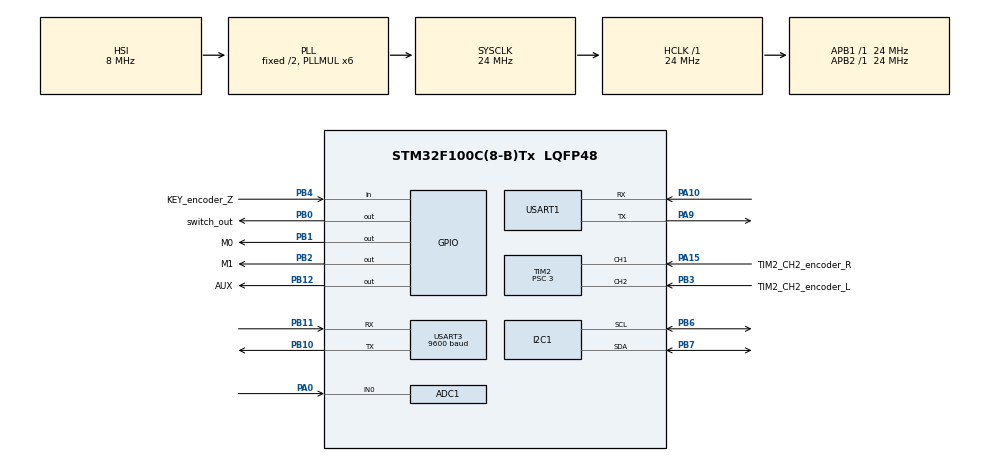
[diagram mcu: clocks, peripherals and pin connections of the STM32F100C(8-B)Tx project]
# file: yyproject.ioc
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ADC1.Channel-4\#ChannelRegularConversion=ADC_CHANNEL_0
ADC1.ContinuousConvMode=ENABLE
ADC1.ExternalTrigConv=ADC_SOFTWARE_START
ADC1.NbrOfConversion=1
ADC1.NbrOfConversionFlag=1
ADC1.Rank-4\#ChannelRegularConversion=1
ADC1.SamplingTime-4\#ChannelRegularConversion=ADC_SAMPLETIME_239CYCLES_5
ADC1.master=1
Dma.ADC1.2.Direction=DMA_PERIPH_TO_MEMORY
Dma.ADC1.2.Instance=DMA1_Channel1
Dma.ADC1.2.MemDataAlignment=DMA_MDATAALIGN_WORD
Dma.ADC1.2.MemInc=DMA_MINC_ENABLE
Dma.ADC1.2.Mode=DMA_CIRCULAR
Dma.ADC1.2.PeriphDataAlignment=DMA_PDATAALIGN_WORD
Dma.ADC1.2.PeriphInc=DMA_PINC_DISABLE
Dma.ADC1.2.Priority=DMA_PRIORITY_LOW
Dma.I2C1_RX.3.Direction=DMA_PERIPH_TO_MEMORY
Dma.I2C1_RX.3.Instance=DMA1_Channel7
Dma.I2C1_RX.3.MemDataAlignment=DMA_MDATAALIGN_BYTE
Dma.I2C1_RX.3.MemInc=DMA_MINC_ENABLE
Dma.I2C1_RX.3.Mode=DMA_NORMAL
Dma.I2C1_RX.3.PeriphDataAlignment=DMA_PDATAALIGN_BYTE
Dma.I2C1_RX.3.PeriphInc=DMA_PINC_DISABLE
Dma.I2C1_RX.3.Priority=DMA_PRIORITY_LOW
Dma.I2C1_TX.4.Direction=DMA_MEMORY_TO_PERIPH
Dma.I2C1_TX.4.Instance=DMA1_Channel6
Dma.I2C1_TX.4.MemDataAlignment=DMA_MDATAALIGN_BYTE
Dma.I2C1_TX.4.MemInc=DMA_MINC_ENABLE
Dma.I2C1_TX.4.Mode=DMA_NORMAL
Dma.I2C1_TX.4.PeriphDataAlignment=DMA_PDATAALIGN_BYTE
Dma.I2C1_TX.4.PeriphInc=DMA_PINC_DISABLE
Dma.I2C1_TX.4.Priority=DMA_PRIORITY_LOW
Dma.Request0=USART1_TX
Dma.Request1=USART1_RX
Dma.Request2=ADC1
Dma.Request3=I2C1_RX
Dma.Request4=I2C1_TX
Dma.Request5=USART3_RX
Dma.Request6=USART3_TX
Dma.USART1_RX.1.Direction=DMA_PERIPH_TO_MEMORY
Dma.USART1_RX.1.Instance=DMA1_Channel5
Dma.USART1_RX.1.MemDataAlignment=DMA_MDATAALIGN_BYTE
Dma.USART1_RX.1.MemInc=DMA_MINC_ENABLE
Dma.USART1_RX.1.Mode=DMA_CIRCULAR
Dma.USART1_RX.1.PeriphDataAlignment=DMA_PDATAALIGN_BYTE
Dma.USART1_RX.1.PeriphInc=DMA_PINC_DISABLE
Dma.USART1_RX.1.Priority=DMA_PRIORITY_LOW
Dma.USART1_TX.0.Direction=DMA_MEMORY_TO_PERIPH
Dma.USART1_TX.0.Instance=DMA1_Channel4
Dma.USART1_TX.0.MemDataAlignment=DMA_MDATAALIGN_BYTE
Dma.USART1_TX.0.MemInc=DMA_MINC_ENABLE
Dma.USART1_TX.0.Mode=DMA_NORMAL
Dma.USART1_TX.0.PeriphDataAlignment=DMA_PDATAALIGN_BYTE
Dma.USART1_TX.0.PeriphInc=DMA_PINC_DISABLE
Dma.USART1_TX.0.Priority=DMA_PRIORITY_LOW
Dma.USART3_RX.5.Direction=DMA_PERIPH_TO_MEMORY
Dma.USART3_RX.5.Instance=DMA1_Channel3
Dma.USART3_RX.5.MemDataAlignment=DMA_MDATAALIGN_BYTE
Dma.USART3_RX.5.MemInc=DMA_MINC_ENABLE
Dma.USART3_RX.5.Mode=DMA_CIRCULAR
Dma.USART3_RX.5.PeriphDataAlignment=DMA_PDATAALIGN_BYTE
Dma.USART3_RX.5.PeriphInc=DMA_PINC_DISABLE
Dma.USART3_RX.5.Priority=DMA_PRIORITY_LOW
Dma.USART3_TX.6.Direction=DMA_MEMORY_TO_PERIPH
Dma.USART3_TX.6.Instance=DMA1_Channel2
Dma.USART3_TX.6.MemDataAlignment=DMA_MDATAALIGN_BYTE
Dma.USART3_TX.6.MemInc=DMA_MINC_ENABLE
Dma.USART3_TX.6.Mode=DMA_NORMAL
Dma.USART3_TX.6.PeriphDataAlignment=DMA_PDATAALIGN_BYTE
Dma.USART3_TX.6.PeriphInc=DMA_PINC_DISABLE
Dma.USART3_TX.6.Priority=DMA_PRIORITY_LOW
I2C1.I2C_Mode=I2C_Standard
I2C1.NoStretchMode=I2C_NOSTRETCH_DISABLE
Mcu.Family=STM32F1
Mcu.Name=STM32F100C(8-B)Tx
Mcu.Package=LQFP48
NVIC.ADC1_IRQn=true\:0\:0\:false\:false\:true\:true\:true
NVIC.DMA1_Channel1_IRQn=true\:0\:0\:true\:false\:true\:false\:true
NVIC.DMA1_Channel2_IRQn=true\:0\:0\:false\:false\:true\:false\:true
NVIC.DMA1_Channel3_IRQn=true\:0\:0\:false\:false\:true\:false\:true
NVIC.DMA1_Channel4_IRQn=true\:0\:0\:true\:false\:true\:false\:true
NVIC.DMA1_Channel5_IRQn=true\:0\:0\:true\:false\:true\:false\:true
NVIC.DMA1_Channel6_IRQn=true\:0\:0\:true\:false\:true\:false\:true
NVIC.DMA1_Channel7_IRQn=true\:0\:0\:false\:false\:true\:false\:true
NVIC.I2C1_ER_IRQn=true\:0\:0\:false\:false\:true\:true\:true
NVIC.I2C1_EV_IRQn=true\:0\:0\:true\:false\:true\:true\:true
NVIC.PriorityGroup=NVIC_PRIORITYGROUP_4
NVIC.RTC_Alarm_IRQn=true\:0\:0\:false\:false\:true\:true\:true
NVIC.RTC_IRQn=true\:1\:0\:true\:false\:true\:true\:true
NVIC.USART1_IRQn=true\:1\:0\:true\:false\:true\:true\:true
NVIC.USART3_IRQn=true\:1\:0\:true\:false\:true\:true\:true
PA0-WKUP.Signal=ADCx_IN0
PA10.Mode=Asynchronous
PA10.Signal=USART1_RX
PA13.Mode=Serial_Wire
PA13.Signal=SYS_JTMS-SWDIO
PA14.Mode=Serial_Wire
PA14.Signal=SYS_JTCK-SWCLK
PA15.GPIO_Label=TIM2_CH2_encoder_R
PA15.Signal=S_TIM2_CH1_ETR
PA9.Mode=Asynchronous
PA9.Signal=USART1_TX
PB0.GPIO_Label=switch_out
PB0.Signal=GPIO_Output
PB1.GPIO_Label=M0
PB1.Signal=GPIO_Output
PB10.Mode=Asynchronous
PB10.Signal=USART3_TX
PB11.Mode=Asynchronous
PB11.Signal=USART3_RX
PB12.GPIO_Label=AUX
PB12.Signal=GPIO_Output
PB2.GPIO_Label=M1
PB2.Signal=GPIO_Output
PB3.GPIO_Label=TIM2_CH2_encoder_L
PB3.Signal=S_TIM2_CH2
PB4.GPIO_Label=KEY_encoder_Z
PB4.Signal=GPIO_Input
PB6.Mode=I2C
PB6.Signal=I2C1_SCL
PB7.Mode=I2C
PB7.Signal=I2C1_SDA
PC14-OSC32_IN.Mode=LSE-External-Oscillator
PC14-OSC32_IN.Signal=RCC_OSC32_IN
PC15-OSC32_OUT.Mode=LSE-External-Oscillator
PC15-OSC32_OUT.Signal=RCC_OSC32_OUT
ProjectManager.HeapSize=0x200
ProjectManager.StackSize=0x400
ProjectManager.TargetToolchain=MDK-ARM V5
RCC.AHBFreq_Value=24000000
RCC.APB1Freq_Value=24000000
RCC.APB1TimFreq_Value=24000000
RCC.APB2Freq_Value=24000000
RCC.APB2TimFreq_Value=24000000
RCC.HCLKFreq_Value=24000000
RCC.PLLMUL=RCC_PLL_MUL6
RCC.RTCClockSelection=RCC_RTCCLKSOURCE_LSE
RCC.SYSCLKFreq_VALUE=24000000
RCC.SYSCLKSource=RCC_SYSCLKSOURCE_PLLCLK
RTC.Date=20
RTC.Format=RTC_FORMAT_BIN
RTC.Hours=12
RTC.Month=RTC_MONTH_JUNE
RTC.OutPut=RTC_OUTPUTSOURCE_NONE
RTC.WeekDay=RTC_WEEKDAY_SATURDAY
RTC.Year=20
SH.ADCx_IN0.0=ADC1_IN0,IN0
SH.S_TIM2_CH1_ETR.0=TIM2_CH1,Encoder_Interface
SH.S_TIM2_CH2.0=TIM2_CH2,Encoder_Interface
TIM2.EncoderMode=TIM_ENCODERMODE_TI12
TIM2.IC1Filter=15
TIM2.IC2Filter=15
TIM2.Period=0xffff
TIM2.Prescaler=3
USART1.VirtualMode=VM_ASYNC
USART3.BaudRate=9600
USART3.VirtualMode=VM_ASYNC
VP_CRC_VS_CRC.Mode=CRC_Activate
VP_RTC_No_RTC_Output.Mode=RTC_OUT_NO
VP_RTC_VS_RTC_Activate.Mode=RTC_Enabled
VP_RTC_VS_RTC_Calendar.Mode=RTC_Calendar
board=custom

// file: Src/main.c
/* USER CODE BEGIN Header */
/**
  ******************************************************************************
  * @file           : main.c
  * @brief          : Main program body
  ******************************************************************************
  * @attention
  *
  * <h2><center>&copy; Copyright (c) 2020 STMicroelectronics.
  * All rights reserved.</center></h2>
  *
  * This software component is licensed by ST under BSD 3-Clause license,
  * the "License"; You may not use this file except in compliance with the
  * License. You may obtain a copy of the License at:
  *                        opensource.org/licenses/BSD-3-Clause
  *
  ******************************************************************************
  */
/* USER CODE END Header */

#include "main.h"
#include "adc.h"
#include "crc.h"
#include "dma.h"
#include "i2c.h"
#include "rtc.h"
#include "tim.h"
#include "usart.h"
#include "gpio.h"

/* USER CODE BEGIN Includes */
#include "delay.h"
#include <stdlib.h>
#include "oled12864.h"
#include "inside_flash.h"
#include "mystr.h"
/* USER CODE END Includes */

void SystemClock_Config(void);

/* USER CODE BEGIN 0 */
const uint8_t USART_Cmd_Menu[] = "\r\n \
  ***********************************************************\r\n \
  * 串口3回显控制：                                          *\r\n \
  *    输入 USART3_Echo=1 换行发送即可开启回显                *\r\n \
  *    输入 USART3_Echo=0 换行发送即可关闭回显                *\r\n \
  *                                                         *\r\n \
  * 输入 help 换行发送查看命令控制说明                        *\r\n \
  ***********************************************************\r\n \
\r\n";

uint32_t AD_DMA_1 = 0; // 保存ADC1数据
char AD_STR[3];
// rtc 时间
char time_[] = "00:00:00";
RTC_TimeTypeDef stimestructure;
RTC_AlarmTypeDef alarmValue;

// crc 测试用
// static const uint32_t aDataBuffer[114] =
// {
//   0x00001021, 0x20423063, 0x408450a5, 0x60c670e7, 0x9129a14a, 0xb16bc18c,
//   0xd1ade1ce, 0xf1ef1231, 0x32732252, 0x52b54294, 0x72f762d6, 0x93398318,
//   0xa35ad3bd, 0xc39cf3ff, 0xe3de2462, 0x34430420, 0x64e674c7, 0x44a45485,
//   0xa56ab54b, 0x85289509, 0xf5cfc5ac, 0xd58d3653, 0x26721611, 0x063076d7,
//   0x569546b4, 0xb75ba77a, 0x97198738, 0xf7dfe7fe, 0xc7bc48c4, 0x58e56886,
//   0x78a70840, 0x18612802, 0xc9ccd9ed, 0xe98ef9af, 0x89489969, 0xa90ab92b,
//   0x4ad47ab7, 0x6a961a71, 0x0a503a33, 0x2a12dbfd, 0xfbbfeb9e, 0x9b798b58,
//   0xbb3bab1a, 0x6ca67c87, 0x5cc52c22, 0x3c030c60, 0x1c41edae, 0xfd8fcdec,
//   0xad2abd0b, 0x8d689d49, 0x7e976eb6, 0x5ed54ef4, 0x2e321e51, 0x0e70ff9f,
//   0xefbedfdd, 0xcffcbf1b, 0x9f598f78, 0x918881a9, 0xb1caa1eb, 0xd10cc12d,
//   0xe16f1080, 0x00a130c2, 0x20e35004, 0x40257046, 0x83b99398, 0xa3fbb3da,
//   0xc33dd31c, 0xe37ff35e, 0x129022f3, 0x32d24235, 0x52146277, 0x7256b5ea,
//   0x95a88589, 0xf56ee54f, 0xd52cc50d, 0x34e224c3, 0x04817466, 0x64475424,
//   0x4405a7db, 0xb7fa8799, 0xe75ff77e, 0xc71dd73c, 0x26d336f2, 0x069116b0,
//   0x76764615, 0x5634d94c, 0xc96df90e, 0xe92f99c8, 0xb98aa9ab, 0x58444865,
//   0x78066827, 0x18c008e1, 0x28a3cb7d, 0xdb5ceb3f, 0xfb1e8bf9, 0x9bd8abbb,
//   0x4a755a54, 0x6a377a16, 0x0af11ad0, 0x2ab33a92, 0xed0fdd6c, 0xcd4dbdaa,
//   0xad8b9de8, 0x8dc97c26, 0x5c644c45, 0x3ca22c83, 0x1ce00cc1, 0xef1fff3e,
//   0xdf7caf9b, 0xbfba8fd9, 0x9ff86e17, 0x7e364e55, 0x2e933eb2, 0x0ed11ef0
// };
// uint32_t uwExpectedCRCValue = 0x379E9F06;

/* USER CODE END 0 */

int main(void)
{

  /* MCU Configuration--------------------------------------------------------*/

  /* Reset of all peripherals, Initializes the Flash interface and the Systick. */
  HAL_Init();

  /* USER CODE BEGIN Init */
  Delay_Init();
  /* USER CODE END Init */

  /* Configure the system clock */
  SystemClock_Config();

  /* Initialize all configured peripherals */
  MX_GPIO_Init();
  MX_DMA_Init();
  MX_ADC1_Init();
  MX_USART1_UART_Init();
  MX_I2C1_Init();
  MX_TIM2_Init();
  MX_RTC_Init();
  MX_CRC_Init();
  MX_USART3_UART_Init();
  /* USER CODE BEGIN 2 */

  USER_USART_Init();

  printf("%s", USART_Cmd_Menu);

  SSD1306_Init();                      // OLED12864 初始化
  HAL_ADCEx_Calibration_Start(&hadc1); // 开启ADC校准

  HAL_RTCEx_SetSecond_IT(&hrtc); // 开启秒中断

  // HAL_TIM_Encoder_Start(&htim2, TIM_CHANNEL_ALL);  // 在初始化中添加打开定时器的encoder模式

  // SSD1306_DrawLine(0, 0, 128, 0, SSD1306_COLOR_WHITE);
  // SSD1306_DrawLine2(0, 0, 128, 64, SSD1306_COLOR_WHITE);
  // SSD1306_DrawRectangle(0, 2, 20, 20, SSD1306_COLOR_WHITE);
  // SSD1306_DrawFilledRectangle(22, 2, 20, 20, SSD1306_COLOR_WHITE);
  // SSD1306_GotoXY(0, 0);
  // SSD1306_Puts("Christian idrnyu", &Font_6x8, SSD1306_COLOR_WHITE, initial);
  // SSD1306_GotoXY(0, 8);
  // SSD1306_Puts("Christian YU", &Font_8x16, SSD1306_COLOR_WHITE, bold);
  // SSD1306_GotoXY(0, 24);
  // SSD1306_Puts("! 0 1 2 3 4 5", &Font_8x16, SSD1306_COLOR_WHITE, initial);
  // SSD1306_GotoXY(0, 0);
  // OLED_ShowText("我爱耶稣", SSD1306_COLOR_WHITE, initial);
  // SSD1306_GotoXY(0, 16);
  // OLED_ShowText("我爱耶稣", SSD1306_COLOR_WHITE, bold);
  // SSD1306_UpdateScreen(); // 更新显示
  // OLED_Scroll_Display(0, 7, LEFT);

  // writeFlash(0x08007000, 0x55555555);
  // readFlash(0x08007000);
  // while(1);

  // crc 校验
  // if(HAL_CRC_Accumulate(&hcrc, (uint32_t *)aDataBuffer, 114) != uwExpectedCRCValue)
  //     printf("\n\r CRC wrong value  crc校验不成立 \n\r");
  // else
  //     printf("\n\r CRC right value  crc校验成功 \n\r");
  // while(1);

  setAlarm(0, 0, 10); // 多少时分秒后中断

  SSD1306_GotoXY(86, 0);
  SSD1306_Puts("M", &Font_6x8, SSD1306_COLOR_WHITE, initial);
  // SSD1306_Puts("A", &Font_6x8, SSD1306_COLOR_WHITE, initial);

  SSD1306_DrawLine2(0, 9, 128, 9, SSD1306_COLOR_WHITE); // 画线

  SSD1306_DrawPixel(51, 8, SSD1306_COLOR_WHITE); // 打点1
  SSD1306_DrawPixel(51, 7, SSD1306_COLOR_WHITE); // 打点1
  SSD1306_DrawPixel(51, 6, SSD1306_COLOR_WHITE); // 打点1

  SSD1306_DrawPixel(82, 8, SSD1306_COLOR_WHITE); // 打点2
  SSD1306_DrawPixel(82, 7, SSD1306_COLOR_WHITE); // 打点2
  SSD1306_DrawPixel(82, 6, SSD1306_COLOR_WHITE); // 打点2

  SSD1306_DrawPixel(96, 8, SSD1306_COLOR_WHITE); // 打点3
  SSD1306_DrawPixel(96, 7, SSD1306_COLOR_WHITE); // 打点3
  SSD1306_DrawPixel(96, 6, SSD1306_COLOR_WHITE); // 打点3

  /* USER CODE END 2 */

  /* Infinite loop */
  while (1)
  {

    /* USER CODE BEGIN 3 */

    // printf("编码器：%d\r\n", (uint32_t)(__HAL_TIM_GET_COUNTER(&htim2)));
    // Delay_ms(2000);
  }
  /* USER CODE END 3 */
}

void SystemClock_Config(void)
{
  RCC_OscInitTypeDef RCC_OscInitStruct = {0};
  RCC_ClkInitTypeDef RCC_ClkInitStruct = {0};
  RCC_PeriphCLKInitTypeDef PeriphClkInit = {0};

  /** Initializes the CPU, AHB and APB busses clocks
  */
  RCC_OscInitStruct.OscillatorType = RCC_OSCILLATORTYPE_HSI|RCC_OSCILLATORTYPE_LSE;
  RCC_OscInitStruct.LSEState = RCC_LSE_ON;
  RCC_OscInitStruct.HSIState = RCC_HSI_ON;
  RCC_OscInitStruct.HSICalibrationValue = RCC_HSICALIBRATION_DEFAULT;
  RCC_OscInitStruct.PLL.PLLState = RCC_PLL_ON;
  RCC_OscInitStruct.PLL.PLLSource = RCC_PLLSOURCE_HSI_DIV2;
  RCC_OscInitStruct.PLL.PLLMUL = RCC_PLL_MUL6;
  if (HAL_RCC_OscConfig(&RCC_OscInitStruct) != HAL_OK)
  {
    Error_Handler();
  }
  /** Initializes the CPU, AHB and APB busses clocks
  */
  RCC_ClkInitStruct.ClockType = RCC_CLOCKTYPE_HCLK|RCC_CLOCKTYPE_SYSCLK
                              |RCC_CLOCKTYPE_PCLK1|RCC_CLOCKTYPE_PCLK2;
  RCC_ClkInitStruct.SYSCLKSource = RCC_SYSCLKSOURCE_PLLCLK;
  RCC_ClkInitStruct.AHBCLKDivider = RCC_SYSCLK_DIV1;
  RCC_ClkInitStruct.APB1CLKDivider = RCC_HCLK_DIV1;
  RCC_ClkInitStruct.APB2CLKDivider = RCC_HCLK_DIV1;

  if (HAL_RCC_ClockConfig(&RCC_ClkInitStruct, FLASH_LATENCY_0) != HAL_OK)
  {
    Error_Handler();
  }
  PeriphClkInit.PeriphClockSelection = RCC_PERIPHCLK_RTC|RCC_PERIPHCLK_ADC;
  PeriphClkInit.RTCClockSelection = RCC_RTCCLKSOURCE_LSE;
  PeriphClkInit.AdcClockSelection = RCC_ADCPCLK2_DIV2;
  if (HAL_RCCEx_PeriphCLKConfig(&PeriphClkInit) != HAL_OK)
  {
    Error_Handler();
  }
}

/* USER CODE BEGIN 4 */

//闹钟中断回调函数
void HAL_RTC_AlarmAEventCallback(RTC_HandleTypeDef *hrtc)
{
  printf("闹钟中断回调!!\r\n");
}
// rtc 秒中断回调函数
void HAL_RTCEx_RTCEventCallback(RTC_HandleTypeDef *hrtc)
{
  // 获取RTC当前时间，必须先获取时间
  // HAL_RTC_GetTime(&hrtc, &stimestructure, RTC_FORMAT_BIN);
  HAL_RTC_GetTime(hrtc, &stimestructure, RTC_FORMAT_BIN);
  sprintf(time_, "%02d:%02d:%02d", stimestructure.Hours, stimestructure.Minutes, stimestructure.Seconds);
  SSD1306_GotoXY(0, 0);
  SSD1306_Puts(time_, &Font_6x8, SSD1306_COLOR_WHITE, initial);

  // 使用DMA 单次转换  连续转换模式
  HAL_ADC_Start_DMA(&hadc1, (uint32_t *)&AD_DMA_1, 1); //启用DMA的ADC转换，AD_DMA 0
  sprintf(AD_STR, "%.1fC", (float)(AD_DMA_1 * 3.3 / 4096));
  SSD1306_GotoXY(54, 0);
  SSD1306_Puts(AD_STR, &Font_6x8, SSD1306_COLOR_WHITE, initial);

  SSD1306_UpdateScreen(); // 更新显示
}
/* USER CODE END 4 */

void Error_Handler(void)
{
}

/************************ (C) COPYRIGHT STMicroelectronics *****END OF FILE****/
